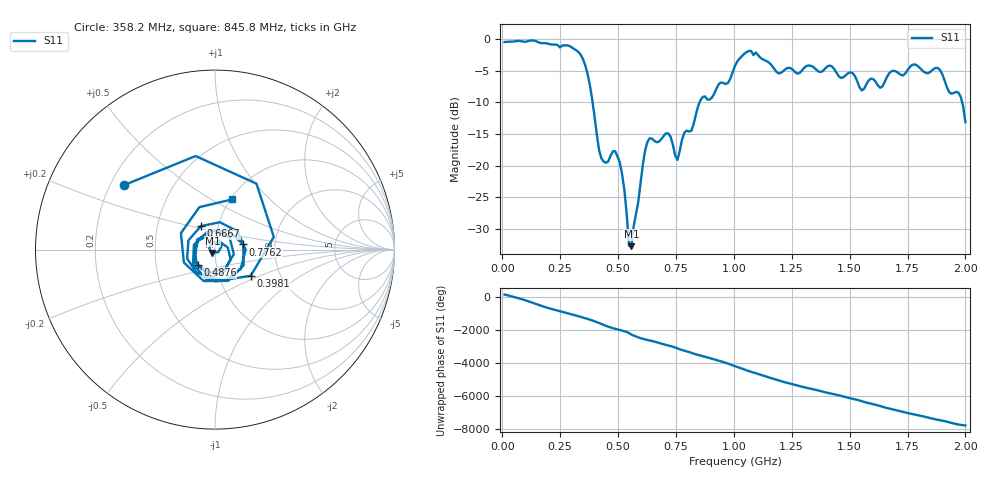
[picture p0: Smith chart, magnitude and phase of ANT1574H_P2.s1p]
!Created with skrf (http://scikit-rf.org).
# Hz S RI R 50.0
!freq ReS11 ImS11
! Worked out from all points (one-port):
!   201 points, 10 MHz to 2 GHz, reference 50 ohm
!   lowest |S11| = -32.8 dB at 557.2 MHz (marker M1), VSWR 1.05, Z = 48.6 - j1.76 ohm
!   |S11| at or under -10 dB: 390 MHz to 852.1 MHz (462.1 MHz wide, 74.4 % of centre); 1.986 GHz to end of sweep
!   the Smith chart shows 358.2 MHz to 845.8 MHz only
!   S11 on the Smith chart (normalised r, x): 358.2 MHz: 0.26, +0.30; 398.1 MHz: 1.42, -0.44; 487.6 MHz: 0.81, -0.14; 666.7 MHz: 0.83, +0.22; 776.1 MHz: 1.37, +0.08; 845.8 MHz: 1.02, +0.62
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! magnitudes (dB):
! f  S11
! 10 MHz  -0.4
! 258.8 MHz  -1.0
! 358.2 MHz  -4.1
! 398.1 MHz  -12.2
! 427.9 MHz  -18.9
! 487.6 MHz  -17.7
! 507.5 MHz  -19.5
! 527.4 MHz  -23.9
! 547.3 MHz  -32.7
! 557.2 MHz  -32.8
! 617 MHz  -17.6
! 666.7 MHz  -16.3
! 716.5 MHz  -14.9
! 756.2 MHz  -19.1
! 776.1 MHz  -15.9
! 816 MHz  -14.5
! 845.8 MHz  -10.6
! 1.005 GHz  -4.2
! 1.075 GHz  -1.9
! 1.194 GHz  -5.4
! 1.254 GHz  -4.8
! 1.502 GHz  -5.2
! 1.552 GHz  -8.1
! 1.751 GHz  -4.8
! 1.891 GHz  -4.9
! 1.93 GHz  -8.4
! 1.98 GHz  -9.1
! 2 GHz  -13.1
